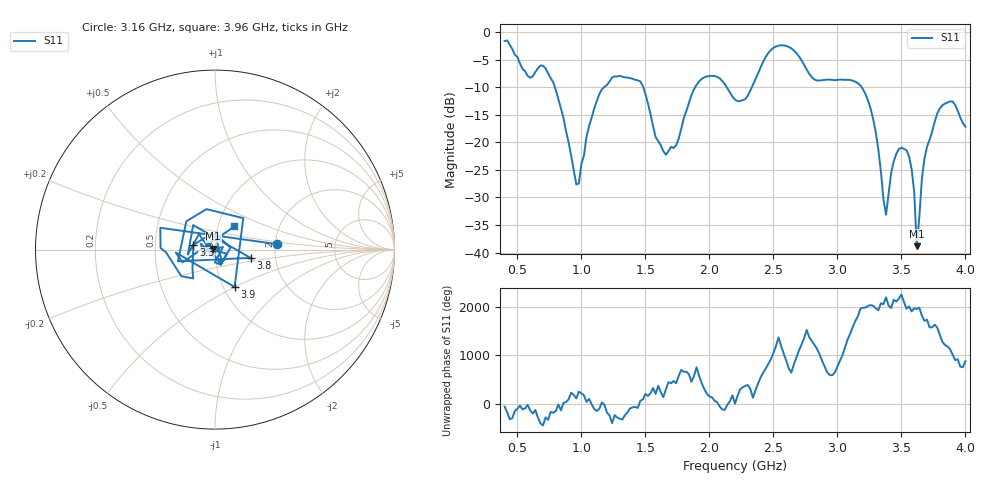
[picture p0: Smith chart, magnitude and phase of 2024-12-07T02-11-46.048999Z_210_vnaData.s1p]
!Created with skrf (http://scikit-rf.org).
# Hz S RI R 50.0
!freq ReS11 ImS11
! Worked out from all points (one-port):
!   181 points, 400 MHz to 4 GHz, reference 50 ohm
!   lowest |S11| = -38.8 dB at 3.62 GHz (marker M1), VSWR 1.02, Z = 49 + j0.513 ohm
!   |S11| at or under -10 dB: 792.9 MHz to 1.176 GHz (383.3 MHz wide, 38.9 % of centre); 1.484 GHz to 1.888 GHz (404.9 MHz wide, 24 % of centre); 3.189 GHz to end of sweep (the widest 3 of 4)
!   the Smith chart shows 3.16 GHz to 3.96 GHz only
!   S11 on the Smith chart (normalised r, x): 3.16 GHz: 2.04, +0.14; 3.3 GHz: 0.78, +0.04; 3.8 GHz: 1.49, -0.14; 3.9 GHz: 1.13, -0.50; 3.96 GHz: 1.20, +0.32
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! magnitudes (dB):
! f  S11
! 400 MHz  -1.6
! 600 MHz  -8.3
! 720 MHz  -6.6
! 860 MHz  -15.6
! 980 MHz  -27.5
! 1.14 GHz  -11.2
! 1.3 GHz  -7.9
! 1.46 GHz  -8.9
! 1.66 GHz  -22.2
! 1.76 GHz  -19.3
! 1.94 GHz  -8.5
! 2.2 GHz  -12.2
! 2.5 GHz  -2.8
! 2.66 GHz  -3.3
! 2.82 GHz  -8.6
! 3.1 GHz  -8.7
! 3.16 GHz  -9.3
! 3.3 GHz  -18.2
! 3.38 GHz  -33.1
! 3.46 GHz  -22.1
! 3.56 GHz  -22.6
! 3.6 GHz  -29.0
! 3.62 GHz  -38.8
! 3.68 GHz  -23.0
! 3.8 GHz  -13.8
! 3.9 GHz  -12.6
! 3.96 GHz  -15.5
! 4 GHz  -17.2
